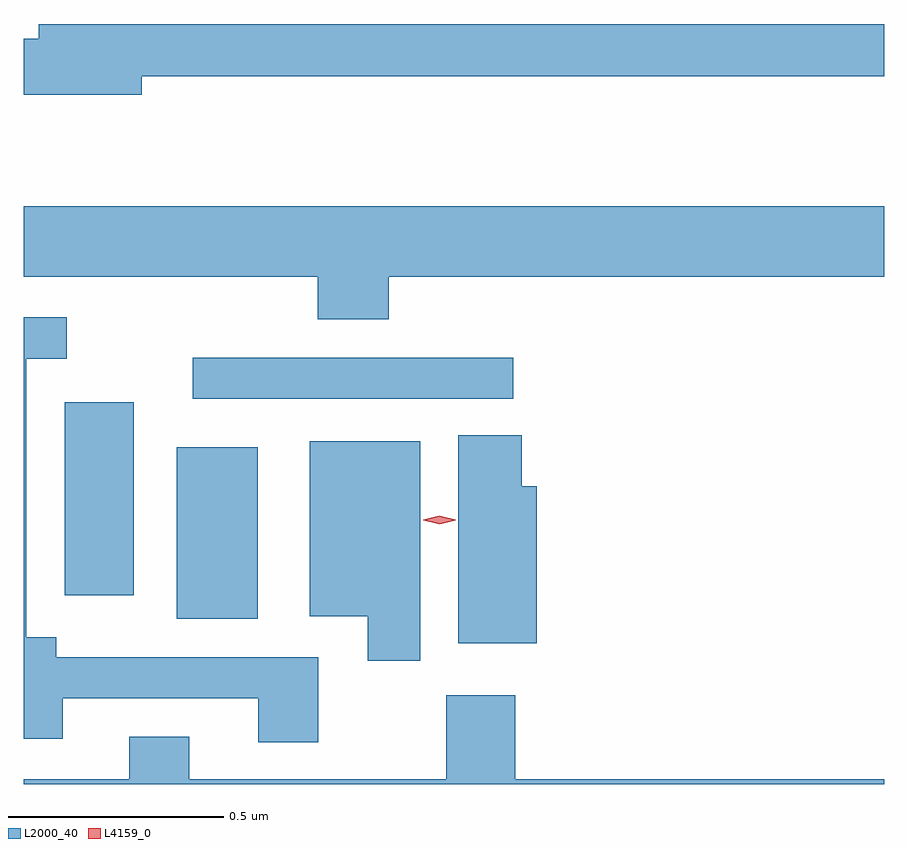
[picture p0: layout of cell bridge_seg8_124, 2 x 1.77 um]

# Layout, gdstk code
import gdstk
lib = gdstk.Library(unit=1e-6, precision=1e-09)
def R(c, l, rs):  # rectangles x0, y0, x1, y1
    for r in rs: c.add(gdstk.rectangle(r[:2], r[2:], *l))
def P(c, l, *ps):  # polygons
    for p in ps: c.add(gdstk.Polygon(p, *l))
L2000_40 = (2000, 40)
L4159_0 = (4159, 0)

bridge_seg8_124 = lib.new_cell('bridge_seg8_124')
R(bridge_seg8_124, L2000_40, [(783.41,1162.325,783.598,1162.723), (783.149,1162.38,783.31,1162.828), (783.447,1162.836,784.192,1162.932)])
P(bridge_seg8_124, L2000_40, [(783.328,1163.586),(785.054,1163.586),(785.054,1163.707),(783.089,1163.707),(783.089,1163.673),(783.054,1163.673),(783.054,1163.543),(783.328,1163.543)],
  [(783.902,1163.12),(785.054,1163.12),(785.054,1163.284),(783.054,1163.284),(783.054,1163.12),(783.737,1163.12),(783.737,1163.021),(783.902,1163.021)],
  [(783.739,1162.236),(783.13,1162.236),(783.13,1162.282),(783.06,1162.282),(783.06,1162.929),(783.154,1162.929),(783.154,1163.025),(783.054,1163.025),(783.054,1162.046),(783.145,1162.046),(783.145,1162.14),(783.599,1162.14),(783.599,1162.038),(783.739,1162.038)],
  [(784.246,1162.633),(784.211,1162.633),(784.211,1162.751),(784.064,1162.751),(784.064,1162.268),(784.246,1162.268)],
  [(783.976,1162.738),(783.719,1162.738),(783.719,1162.331),(783.854,1162.331),(783.854,1162.227),(783.976,1162.227)],
  [(785.054,1161.952),(784.196,1161.952),(784.196,1162.147),(784.036,1162.147),(784.036,1161.952),(783.439,1161.952),(783.439,1162.051),(783.299,1162.051),(783.299,1161.952),(783.054,1161.952),(783.054,1161.941),(785.054,1161.941)])
P(bridge_seg8_124, L4159_0, [(784.021,1162.544),(783.983,1162.554),(783.983,1162.554),(783.983,1162.555),(784.02,1162.564),(784.058,1162.555),(784.058,1162.555),(784.058,1162.554)])

lib.write_gds('bridge_seg8_124.gds')
